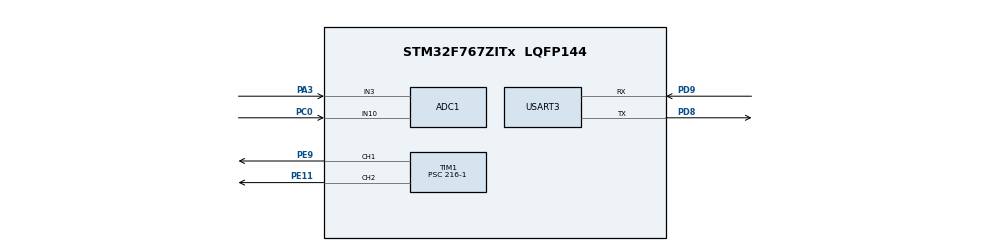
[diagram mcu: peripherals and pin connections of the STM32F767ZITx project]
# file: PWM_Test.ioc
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ADC1.Channel-1\#ChannelRegularConversion=ADC_CHANNEL_3
ADC1.Channel-2\#ChannelRegularConversion=ADC_CHANNEL_10
ADC1.ContinuousConvMode=DISABLE
ADC1.EOCSelection=ADC_EOC_SINGLE_CONV
ADC1.NbrOfConversion=2
ADC1.NbrOfConversionFlag=1
ADC1.Rank-1\#ChannelRegularConversion=1
ADC1.Rank-2\#ChannelRegularConversion=2
ADC1.SamplingTime-1\#ChannelRegularConversion=ADC_SAMPLETIME_15CYCLES
ADC1.SamplingTime-2\#ChannelRegularConversion=ADC_SAMPLETIME_15CYCLES
ADC1.master=1
Mcu.Family=STM32F7
Mcu.Name=STM32F767ZITx
Mcu.Package=LQFP144
NVIC.PriorityGroup=NVIC_PRIORITYGROUP_4
PA3.Signal=ADCx_IN3
PC0.Signal=ADCx_IN10
PD8.Mode=Asynchronous
PD8.Signal=USART3_TX
PD9.Mode=Asynchronous
PD9.Signal=USART3_RX
PE11.Signal=S_TIM1_CH2
PE9.GPIO_Speed=GPIO_SPEED_FREQ_VERY_HIGH
PE9.Signal=S_TIM1_CH1
ProjectManager.HeapSize=0x200
ProjectManager.StackSize=0x400
ProjectManager.TargetToolchain=STM32CubeIDE
RCC.HSE_VALUE=25000000
RCC.HSI_VALUE=16000000
RCC.LSE_VALUE=32768
RCC.USBFreq_Value=96000000
RCC.VCOOutputFreq_Value=192000000
SH.ADCx_IN10.0=ADC1_IN10,IN10
SH.ADCx_IN3.0=ADC1_IN3,IN3
SH.S_TIM1_CH1.0=TIM1_CH1,PWM Generation1 CH1
SH.S_TIM1_CH2.0=TIM1_CH2,PWM Generation2 CH2
TIM1.Channel-PWM\ Generation1\ CH1=TIM_CHANNEL_1
TIM1.Channel-PWM\ Generation2\ CH2=TIM_CHANNEL_2
TIM1.Period=10000-1
TIM1.Prescaler=216-1
TIM1.Pulse-PWM\ Generation1\ CH1=10000-1
TIM1.Pulse-PWM\ Generation2\ CH2=10000-1
USART3.VirtualMode-Asynchronous=VM_ASYNC
VP_TIM1_VS_ClockSourceINT.Mode=Internal
board=custom

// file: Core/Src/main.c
/* USER CODE BEGIN Header */
/**
  ******************************************************************************
  * @file           : main.c
  * @brief          : Main program body
  ******************************************************************************
  * @attention
  *
  * Copyright (c) 2023 STMicroelectronics.
  * All rights reserved.
  *
  * This software is licensed under terms that can be found in the LICENSE file
  * in the root directory of this software component.
  * If no LICENSE file comes with this software, it is provided AS-IS.
  *
  ******************************************************************************
  */
/* USER CODE END Header */
#include "main.h"
#include "adc.h"
#include "tim.h"
#include "usart.h"
#include "gpio.h"

/* USER CODE BEGIN Includes */
#include "string.h"
/* USER CODE END Includes */

/* USER CODE BEGIN PV */
float dutyCycle[2];
uint32_t adc_val[2];
/* USER CODE END PV */

void SystemClock_Config(void);

int main(void)
{

  /* MCU Configuration--------------------------------------------------------*/

  /* Reset of all peripherals, Initializes the Flash interface and the Systick. */
  HAL_Init();

  /* Configure the system clock */
  SystemClock_Config();

  /* Initialize all configured peripherals */
  MX_GPIO_Init();
  MX_ADC1_Init();
  MX_TIM1_Init();
  MX_USART3_UART_Init();
  /* USER CODE BEGIN 2 */

  //HAL_TIM_PWM_Start(&htim1, TIM_CHANNEL_1);
  /* USER CODE END 2 */

  /* Infinite loop */
  while (1)
  {

    /* USER CODE BEGIN 3 */
	  uint8_t buf[100];
	  HAL_ADC_Start(&hadc1);
	  HAL_ADC_PollForConversion(&hadc1, 100);
	  adc_val[0] = HAL_ADC_GetValue(&hadc1);

	  HAL_ADC_PollForConversion(&hadc1, 100);
	  adc_val[1] = HAL_ADC_GetValue(&hadc1);
	  HAL_ADC_Stop(&hadc1);
	  dutyCycle[0] = ((float)adc_val[0]);
	  dutyCycle[1] = ((float)adc_val[1]);
	  sprintf(buf, "dutyCycle1 is %.2f , dutyCycle2 is %.2f\n\r", dutyCycle[0], dutyCycle[1]);
	  HAL_UART_Transmit(&huart3, buf, strlen(buf), 100);
	  HAL_Delay(400);
	  //htim1.Instance->CCR1 = (10000-1) * dutyCycle;
  }
  /* USER CODE END 3 */
}

void SystemClock_Config(void)
{
  RCC_OscInitTypeDef RCC_OscInitStruct = {0};
  RCC_ClkInitTypeDef RCC_ClkInitStruct = {0};

  /** Configure the main internal regulator output voltage
  */
  __HAL_RCC_PWR_CLK_ENABLE();
  __HAL_PWR_VOLTAGESCALING_CONFIG(PWR_REGULATOR_VOLTAGE_SCALE3);

  /** Initializes the RCC Oscillators according to the specified parameters
  * in the RCC_OscInitTypeDef structure.
  */
  RCC_OscInitStruct.OscillatorType = RCC_OSCILLATORTYPE_HSI;
  RCC_OscInitStruct.HSIState = RCC_HSI_ON;
  RCC_OscInitStruct.HSICalibrationValue = RCC_HSICALIBRATION_DEFAULT;
  RCC_OscInitStruct.PLL.PLLState = RCC_PLL_NONE;
  if (HAL_RCC_OscConfig(&RCC_OscInitStruct) != HAL_OK)
  {
    Error_Handler();
  }

  /** Initializes the CPU, AHB and APB buses clocks
  */
  RCC_ClkInitStruct.ClockType = RCC_CLOCKTYPE_HCLK|RCC_CLOCKTYPE_SYSCLK
                              |RCC_CLOCKTYPE_PCLK1|RCC_CLOCKTYPE_PCLK2;
  RCC_ClkInitStruct.SYSCLKSource = RCC_SYSCLKSOURCE_HSI;
  RCC_ClkInitStruct.AHBCLKDivider = RCC_SYSCLK_DIV1;
  RCC_ClkInitStruct.APB1CLKDivider = RCC_HCLK_DIV1;
  RCC_ClkInitStruct.APB2CLKDivider = RCC_HCLK_DIV1;

  if (HAL_RCC_ClockConfig(&RCC_ClkInitStruct, FLASH_LATENCY_0) != HAL_OK)
  {
    Error_Handler();
  }
}

void Error_Handler(void)
{
  __disable_irq();
  while (1)
  {
  }
}
